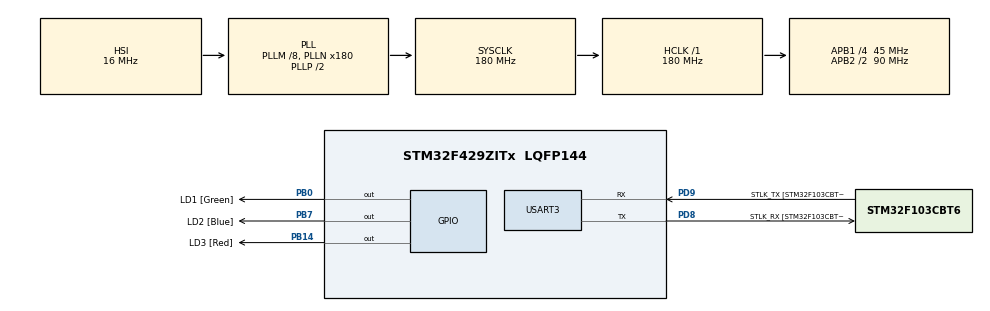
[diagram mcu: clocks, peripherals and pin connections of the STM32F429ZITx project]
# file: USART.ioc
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Mcu.Family=STM32F4
Mcu.Name=STM32F429ZITx
Mcu.Package=LQFP144
NVIC.PriorityGroup=NVIC_PRIORITYGROUP_4
NVIC.USART3_IRQn=true\:0\:0\:false\:false\:true\:true\:true\:true
PA13.GPIO_Label=TMS
PA13.Mode=Serial_Wire
PA13.Signal=SYS_JTMS-SWDIO
PA14.GPIO_Label=TCK
PA14.Mode=Serial_Wire
PA14.Signal=SYS_JTCK-SWCLK
PB0.GPIO_Label=LD1 [Green]
PB0.Signal=GPIO_Output
PB14.GPIO_Label=LD3 [Red]
PB14.Signal=GPIO_Output
PB7.GPIO_Label=LD2 [Blue]
PB7.Signal=GPIO_Output
PD8.GPIO_Label=STLK_RX [STM32F103CBT6_PA3]
PD8.Mode=Asynchronous
PD8.Signal=USART3_TX
PD9.GPIO_Label=STLK_TX [STM32F103CBT6_PA2]
PD9.Mode=Asynchronous
PD9.Signal=USART3_RX
ProjectManager.HeapSize=0x200
ProjectManager.StackSize=0x400
ProjectManager.TargetToolchain=STM32CubeIDE
RCC.48MHZClocksFreq_Value=51428571.428571425
RCC.AHBFreq_Value=180000000
RCC.APB1CLKDivider=RCC_HCLK_DIV4
RCC.APB1Freq_Value=45000000
RCC.APB1TimFreq_Value=90000000
RCC.APB2CLKDivider=RCC_HCLK_DIV2
RCC.APB2Freq_Value=90000000
RCC.APB2TimFreq_Value=180000000
RCC.CortexFreq_Value=180000000
RCC.HCLKFreq_Value=180000000
RCC.HSE_VALUE=8000000
RCC.HSI_VALUE=16000000
RCC.PLLM=8
RCC.PLLMUL=RCC_PLL_MUL9
RCC.PLLN=180
RCC.PLLQ=7
RCC.PRESCALERUSB=RCC_USBCLKSOURCE_PLL_DIV1_5
RCC.SYSCLKFreq_VALUE=180000000
RCC.SYSCLKSource=RCC_SYSCLKSOURCE_PLLCLK
RCC.SYSCLKSourceVirtual=RCC_SYSCLKSOURCE_PLLCLK
RCC.USBFreq_Value=48000000
RCC.VCOOutputFreq_Value=360000000
USART3.VirtualMode=VM_ASYNC
board=NUCLEO-F429ZI

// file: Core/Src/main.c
/* USER CODE BEGIN Header */
/**
 ******************************************************************************
 * @file           : main.c
 * @brief          : Main program body
 ******************************************************************************
 * @attention
 *
 * Copyright (c) 2024 STMicroelectronics.
 * All rights reserved.
 *
 * This software is licensed under terms that can be found in the LICENSE file
 * in the root directory of this software component.
 * If no LICENSE file comes with this software, it is provided AS-IS.
 *
 ******************************************************************************
 */
/* USER CODE END Header */
#include "main.h"
#include "usart.h"
#include "gpio.h"

/* USER CODE BEGIN PM */
extern UART_HandleTypeDef huart3;
/* USER CODE END PM */

void SystemClock_Config(void);

/* USER CODE BEGIN 0 */
char data_rx[10];
volatile uint8_t rx_flag = 0;
volatile uint8_t tx_flag = 0;
/* USER CODE END 0 */

int main(void)
{

	/* MCU Configuration--------------------------------------------------------*/

	/* Reset of all peripherals, Initializes the Flash interface and the Systick. */
	HAL_Init();

	/* Configure the system clock */
	SystemClock_Config();

	/* Initialize all configured peripherals */
	MX_GPIO_Init();
	MX_USART3_UART_Init();
	/* USER CODE BEGIN 2 */
	// PARTE 1
	//HAL_UART_Transmit(&huart3,"Hola buenas noches \n\r", 23, HAL_MAX_DELAY);
	// PARTE 2 NVIC
	HAL_UART_Receive_IT(&huart3, data_rx, sizeof(data_rx));
	// PARTE 3 TX NVIC
	HAL_UART_Transmit_IT(&huart3, "HEY HOLA \n\r", 13);
	/* USER CODE END 2 */

	/* Infinite loop */
	while (1)
	{

		/* USER CODE BEGIN 3 */
		/* PARTE 1
		if(HAL_UART_Receive(&huart3, data_rx, sizeof(data_rx), HAL_MAX_DELAY) == HAL_OK)
		{
			HAL_UART_Transmit(&huart3,data_rx, sizeof(data_rx), HAL_MAX_DELAY);
		}*/
		// PARTE 2
		if(rx_flag == 1)
		{
			HAL_GPIO_TogglePin(LD1_GPIO_Port, LD1_Pin);
			rx_flag = 0;
		}
		if(tx_flag == 1)
		{
			HAL_GPIO_TogglePin(LD1_GPIO_Port, LD2_Pin);
			tx_flag = 0;
		}

	}
	/* USER CODE END 3 */
}

void SystemClock_Config(void)
{
	RCC_OscInitTypeDef RCC_OscInitStruct = {0};
	RCC_ClkInitTypeDef RCC_ClkInitStruct = {0};

	/** Configure the main internal regulator output voltage
	 */
	__HAL_RCC_PWR_CLK_ENABLE();
	__HAL_PWR_VOLTAGESCALING_CONFIG(PWR_REGULATOR_VOLTAGE_SCALE1);

	/** Initializes the RCC Oscillators according to the specified parameters
	 * in the RCC_OscInitTypeDef structure.
	 */
	RCC_OscInitStruct.OscillatorType = RCC_OSCILLATORTYPE_HSI;
	RCC_OscInitStruct.HSIState = RCC_HSI_ON;
	RCC_OscInitStruct.HSICalibrationValue = RCC_HSICALIBRATION_DEFAULT;
	RCC_OscInitStruct.PLL.PLLState = RCC_PLL_ON;
	RCC_OscInitStruct.PLL.PLLSource = RCC_PLLSOURCE_HSI;
	RCC_OscInitStruct.PLL.PLLM = 8;
	RCC_OscInitStruct.PLL.PLLN = 180;
	RCC_OscInitStruct.PLL.PLLP = RCC_PLLP_DIV2;
	RCC_OscInitStruct.PLL.PLLQ = 7;
	if (HAL_RCC_OscConfig(&RCC_OscInitStruct) != HAL_OK)
	{
		Error_Handler();
	}

	/** Activate the Over-Drive mode
	 */
	if (HAL_PWREx_EnableOverDrive() != HAL_OK)
	{
		Error_Handler();
	}

	/** Initializes the CPU, AHB and APB buses clocks
	 */
	RCC_ClkInitStruct.ClockType = RCC_CLOCKTYPE_HCLK|RCC_CLOCKTYPE_SYSCLK
			|RCC_CLOCKTYPE_PCLK1|RCC_CLOCKTYPE_PCLK2;
	RCC_ClkInitStruct.SYSCLKSource = RCC_SYSCLKSOURCE_PLLCLK;
	RCC_ClkInitStruct.AHBCLKDivider = RCC_SYSCLK_DIV1;
	RCC_ClkInitStruct.APB1CLKDivider = RCC_HCLK_DIV4;
	RCC_ClkInitStruct.APB2CLKDivider = RCC_HCLK_DIV2;

	if (HAL_RCC_ClockConfig(&RCC_ClkInitStruct, FLASH_LATENCY_5) != HAL_OK)
	{
		Error_Handler();
	}
}

/* USER CODE BEGIN 4 */
void HAL_UART_RxCpltCallback(UART_HandleTypeDef *huart)
{
	// TODO: QUE HAREMOS
	rx_flag = 1;
	//HAL_UART_Transmit(&huart3,data_rx, sizeof(data_rx), HAL_MAX_DELAY);
	HAL_UART_Transmit_IT(&huart3,data_rx, sizeof(data_rx));
	HAL_UART_Receive_IT(&huart3, data_rx, sizeof(data_rx));
}

void HAL_UART_TxCpltCallback(UART_HandleTypeDef *huart)
{
	tx_flag = 1;
}
/* USER CODE END 4 */

void Error_Handler(void)
{
	__disable_irq();
	while (1)
	{
	}
}
